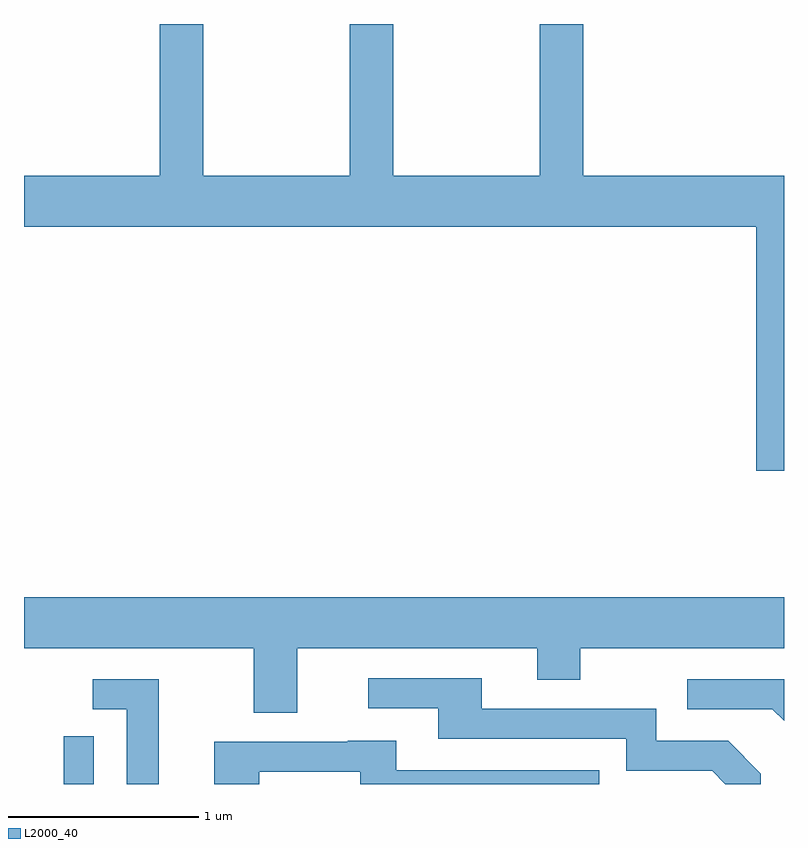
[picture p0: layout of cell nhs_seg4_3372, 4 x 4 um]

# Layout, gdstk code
import gdstk
lib = gdstk.Library(unit=1e-6, precision=1e-09)
def R(c, l, rs):  # rectangles x0, y0, x1, y1
    for r in rs: c.add(gdstk.rectangle(r[:2], r[2:], *l))
def P(c, l, *ps):  # polygons
    for p in ps: c.add(gdstk.Polygon(p, *l))
L2000_40 = (2000, 40)

nhs_seg4_3372 = lib.new_cell('nhs_seg4_3372')
R(nhs_seg4_3372, L2000_40, [(283.821,1333.982,283.979,1334.233)])
P(nhs_seg4_3372, L2000_40, [(284.326,1337.982),(284.326,1337.184),(283.611,1337.184),(283.611,1336.916),(287.466,1336.916),(287.466,1335.631),(287.611,1335.631),(287.611,1337.184),(286.554,1337.184),(286.554,1337.982),(286.326,1337.982),(286.326,1337.184),(285.554,1337.184),(285.554,1337.982),(285.326,1337.982),(285.326,1337.184),(284.554,1337.184),(284.554,1337.982)],
  [(285.049,1334.696),(286.311,1334.696),(286.311,1334.531),(286.539,1334.531),(286.539,1334.696),(287.611,1334.696),(287.611,1334.964),(283.611,1334.964),(283.611,1334.696),(284.821,1334.696),(284.821,1334.356),(285.049,1334.356)],
  [(287.489,1334.037),(287.317,1334.209),(286.939,1334.209),(286.939,1334.379),(286.019,1334.379),(286.019,1334.539),(285.423,1334.539),(285.423,1334.381),(285.791,1334.381),(285.791,1334.221),(286.781,1334.221),(286.781,1334.051),(287.234,1334.051),(287.303,1333.982),(287.489,1333.982)],
  [(284.319,1334.534),(283.973,1334.534),(283.973,1334.376),(284.151,1334.376),(284.151,1333.982),(284.319,1333.982)],
  [(287.611,1334.534),(287.103,1334.534),(287.103,1334.376),(287.549,1334.376),(287.611,1334.314)],
  [(284.849,1334.046),(285.381,1334.046),(285.381,1333.982),(286.638,1333.982),(286.638,1334.054),(285.569,1334.054),(285.569,1334.209),(285.315,1334.209),(285.315,1334.204),(284.611,1334.204),(284.611,1333.982),(284.849,1333.982)])

lib.write_gds('nhs_seg4_3372.gds')
